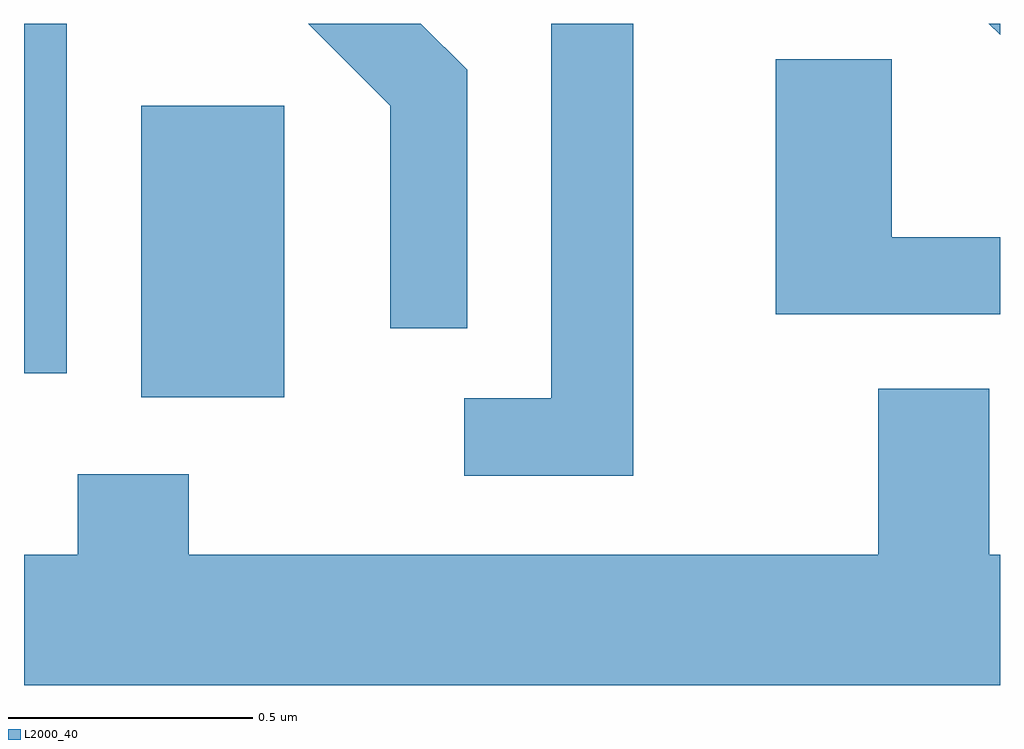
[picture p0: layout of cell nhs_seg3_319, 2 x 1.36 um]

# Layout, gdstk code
import gdstk
lib = gdstk.Library(unit=1e-6, precision=1e-09)
def R(c, l, rs):  # rectangles x0, y0, x1, y1
    for r in rs: c.add(gdstk.rectangle(r[:2], r[2:], *l))
def P(c, l, *ps):  # polygons
    for p in ps: c.add(gdstk.Polygon(p, *l))
L2000_40 = (2000, 40)

nhs_seg3_319 = lib.new_cell('nhs_seg3_319')
R(nhs_seg3_319, L2000_40, [(187.851,1162.126,188.144,1162.724), (187.611,1162.176,187.699,1162.892)])
P(nhs_seg3_319, L2000_40, [(188.519,1162.797),(188.424,1162.892),(188.193,1162.892),(188.361,1162.724),(188.361,1162.268),(188.519,1162.268)],
  [(188.859,1162.892),(188.691,1162.892),(188.691,1162.124),(188.513,1162.124),(188.513,1161.966),(188.859,1161.966)],
  [(189.611,1162.892),(189.588,1162.892),(189.611,1162.869)],
  [(189.611,1162.454),(189.389,1162.454),(189.389,1162.819),(189.151,1162.819),(189.151,1162.296),(189.611,1162.296)],
  [(189.611,1161.804),(189.589,1161.804),(189.589,1162.144),(189.361,1162.144),(189.361,1161.804),(187.949,1161.804),(187.949,1161.969),(187.721,1161.969),(187.721,1161.804),(187.611,1161.804),(187.611,1161.536),(189.611,1161.536)])

lib.write_gds('nhs_seg3_319.gds')
